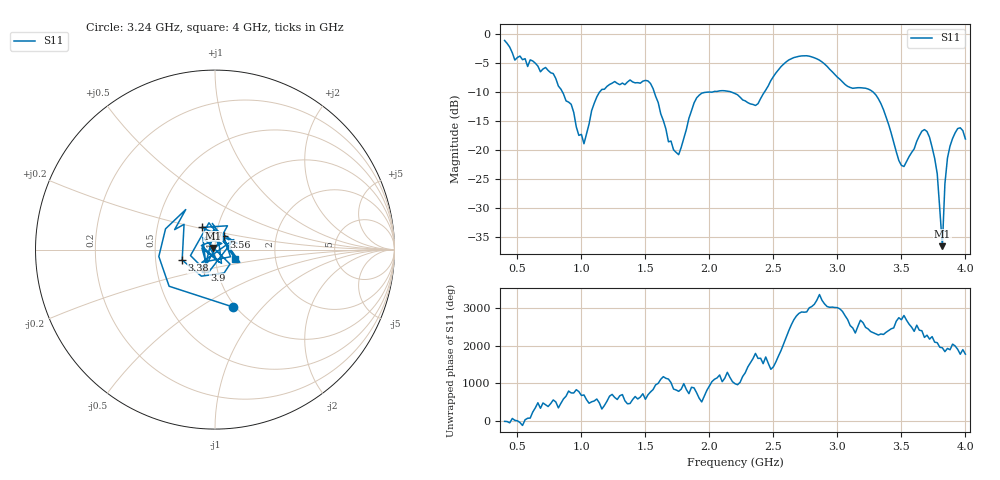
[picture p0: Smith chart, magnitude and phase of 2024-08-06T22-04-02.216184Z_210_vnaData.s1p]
!Created with skrf (http://scikit-rf.org).
# Hz S RI R 50.0
!freq ReS11 ImS11
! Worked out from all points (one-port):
!   181 points, 400 MHz to 4 GHz, reference 50 ohm
!   lowest |S11| = -36.6 dB at 3.82 GHz (marker M1), VSWR 1.03, Z = 48.8 + j0.829 ohm
!   |S11| at or under -10 dB: 851.7 MHz to 1.143 GHz (290.8 MHz wide, 29.2 % of centre); 1.569 GHz to 2.025 GHz (456.5 MHz wide, 25.4 % of centre); 3.278 GHz to end of sweep (the widest 3 of 4)
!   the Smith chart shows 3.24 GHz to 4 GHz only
!   S11 on the Smith chart (normalised r, x): 3.24 GHz: 0.97, -0.70; 3.38 GHz: 0.69, -0.08; 3.56 GHz: 1.09, +0.16; 3.7 GHz: 0.84, +0.21; 3.9 GHz: 0.87, -0.20; 4 GHz: 1.25, -0.13
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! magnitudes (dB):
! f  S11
! 400 MHz  -1.1
! 480 MHz  -4.5
! 780 MHz  -6.8
! 860 MHz  -10.3
! 1.02 GHz  -18.9
! 1.14 GHz  -10.1
! 1.3 GHz  -8.7
! 1.54 GHz  -8.5
! 1.68 GHz  -18.6
! 1.76 GHz  -20.8
! 1.9 GHz  -11.0
! 2.2 GHz  -10.3
! 2.36 GHz  -12.3
! 2.66 GHz  -4.1
! 2.86 GHz  -4.5
! 3.1 GHz  -9.2
! 3.24 GHz  -9.5
! 3.38 GHz  -14.3
! 3.5 GHz  -22.7
! 3.56 GHz  -21.2
! 3.7 GHz  -16.8
! 3.78 GHz  -24.1
! 3.82 GHz  -36.6
! 3.84 GHz  -25.8
! 3.86 GHz  -21.4
! 3.9 GHz  -18.0
! 3.96 GHz  -16.2
! 4 GHz  -18.1
